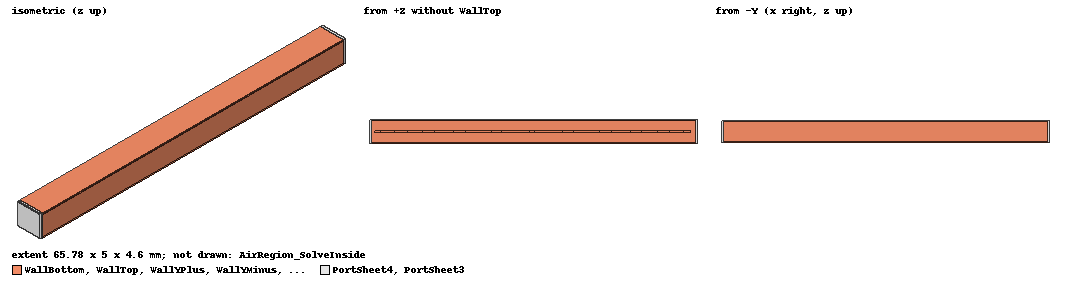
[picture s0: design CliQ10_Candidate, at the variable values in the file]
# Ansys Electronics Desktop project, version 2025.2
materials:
  vacuum: permittivity=1
  CliQ_MACOR: permittivity=5.64 permeability=1 dielectric_loss_tangent=0.0025
  copper: permeability=0.999991 conductivity=58000000
  air: permittivity=1.0006 permeability=1.0000004
  pec: conductivity=1e+30

design CliQ10_Candidate (HFSS, HFSS Modal Network, model units mm)
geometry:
  WallBottom [copper] = box(corner=(0mm, -2.5mm, -2.3mm), size=(65.3mm, 5mm, 0.25mm))
  WallTop [copper] = box(corner=(0mm, -2.5mm, 2.05mm), size=(65.3mm, 5mm, 0.25mm))
  WallYMinus [copper] = box(corner=(0mm, -2.5mm, -2.05mm), size=(65.3mm, 0.25mm, 4.1mm))
  WallYPlus [copper] = box(corner=(0mm, 2.25mm, -2.05mm), size=(65.3mm, 0.25mm, 4.1mm))
  CenterConductor_01 [copper] = box(corner=(1mm, -0.25mm, -0.4mm), size=(1.2898501mm, 0.5mm, 0.8mm))
  CenterConductor_02 [copper] = box(corner=(2.2898501mm, -0.25mm, -0.15mm), size=(2.7987313mm, 0.5mm, 0.3mm))
  CenterConductor_03 [copper] = box(corner=(5.0885813mm, -0.25mm, -0.4mm), size=(2.4945213mm, 0.5mm, 0.8mm))
  CenterConductor_04 [copper] = box(corner=(7.5831027mm, -0.25mm, -0.15mm), size=(3.0907728mm, 0.5mm, 0.3mm))
  CenterConductor_05 [copper] = box(corner=(10.673875mm, -0.25mm, -0.4mm), size=(2.3241638mm, 0.5mm, 0.8mm))
  CenterConductor_06 [copper] = box(corner=(12.998039mm, -0.25mm, -0.15mm), size=(3.8452134mm, 0.5mm, 0.3mm))
  CenterConductor_07 [copper] = box(corner=(16.843253mm, -0.25mm, -0.4mm), size=(2.3241638mm, 0.5mm, 0.8mm))
  CenterConductor_08 [copper] = box(corner=(19.167416mm, -0.25mm, -0.15mm), size=(5.2080738mm, 0.5mm, 0.3mm))
  CenterConductor_09 [copper] = box(corner=(24.37549mm, -0.25mm, -0.4mm), size=(2.1538062mm, 0.5mm, 0.8mm))
  CenterConductor_10 [copper] = box(corner=(26.529296mm, -0.25mm, -0.15mm), size=(5.6339677mm, 0.5mm, 0.3mm))
  CenterConductor_11 [copper] = box(corner=(32.163264mm, -0.25mm, -0.4mm), size=(0.97347174mm, 0.5mm, 0.8mm))
  CenterConductor_12 [copper] = box(corner=(33.136736mm, -0.25mm, -0.15mm), size=(5.6339677mm, 0.5mm, 0.3mm))
  CenterConductor_13 [copper] = box(corner=(38.770704mm, -0.25mm, -0.4mm), size=(2.1538062mm, 0.5mm, 0.8mm))
  CenterConductor_14 [copper] = box(corner=(40.92451mm, -0.25mm, -0.15mm), size=(5.2080738mm, 0.5mm, 0.3mm))
  CenterConductor_15 [copper] = box(corner=(46.132584mm, -0.25mm, -0.4mm), size=(2.3241638mm, 0.5mm, 0.8mm))
  CenterConductor_16 [copper] = box(corner=(48.456747mm, -0.25mm, -0.15mm), size=(3.8452134mm, 0.5mm, 0.3mm))
  CenterConductor_17 [copper] = box(corner=(52.301961mm, -0.25mm, -0.4mm), size=(2.3241638mm, 0.5mm, 0.8mm))
  CenterConductor_18 [copper] = box(corner=(54.626125mm, -0.25mm, -0.15mm), size=(3.0907728mm, 0.5mm, 0.3mm))
  CenterConductor_19 [copper] = box(corner=(57.716897mm, -0.25mm, -0.4mm), size=(2.4945213mm, 0.5mm, 0.8mm))
  CenterConductor_20 [copper] = box(corner=(60.211419mm, -0.25mm, -0.15mm), size=(2.7987313mm, 0.5mm, 0.3mm))
  CenterConductor_21 [copper] = box(corner=(63.01015mm, -0.25mm, -0.4mm), size=(1.2898501mm, 0.5mm, 0.8mm))
  PortSheet1 = rectangle(corner=(0mm, -2.5mm, -2.3mm), y_size=5mm, z_size=4.6mm)
  PortSheet2 = rectangle(corner=(65.3mm, -2.5mm, -2.3mm), y_size=5mm, z_size=4.6mm)
  AirRegion_SolveInside [air] = region(percentage_offset=20 on all sides)
  PortSheet3 [pec] = rectangle(corner=(0mm, -2.5mm, -2.3mm), y_size=5mm, z_size=4.6mm)
  PortSheet3.thicken(0.47958315mm)
  PortSheet4 [pec] = rectangle(corner=(65.3mm, -2.5mm, -2.3mm), y_size=5mm, z_size=4.6mm)
  PortSheet4.thicken(0.47958315mm)
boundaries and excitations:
  Port1: Wave Port Objects=PortSheet1 WavePortType=Modal NumModes=2 Modes{Mode1{CharImp=Zpi RenormImp=50ohm} Mode2{CharImp=Zpi RenormImp=50ohm}}
  Port2: Wave Port Objects=PortSheet2 WavePortType=Modal NumModes=2 Modes{Mode1{CharImp=Zpi RenormImp=50ohm} Mode2{CharImp=Zpi RenormImp=50ohm}}
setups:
  Setup1: HfssDriven Frequency=40GHz MaxDeltaS=0.02 MaximumPasses=12 MinimumPasses=2 MinimumConvergedPasses=1 PercentRefinement=30 BasisOrder=1 PortAccuracy=2 DrivenSolverType="Direct Solver"
    sweep Sweep1: 0.01GHz to 70GHz, 281 points; Type=Interpolating InterpTolerance=0.5 InterpMaxSolns=250 InterpUsePortImped=false PassivityErrorTolerance=0.0001
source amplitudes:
  Port1:1: 1W 0deg
  Port1:2, Port2:1, Port2:2: 0W 0deg
